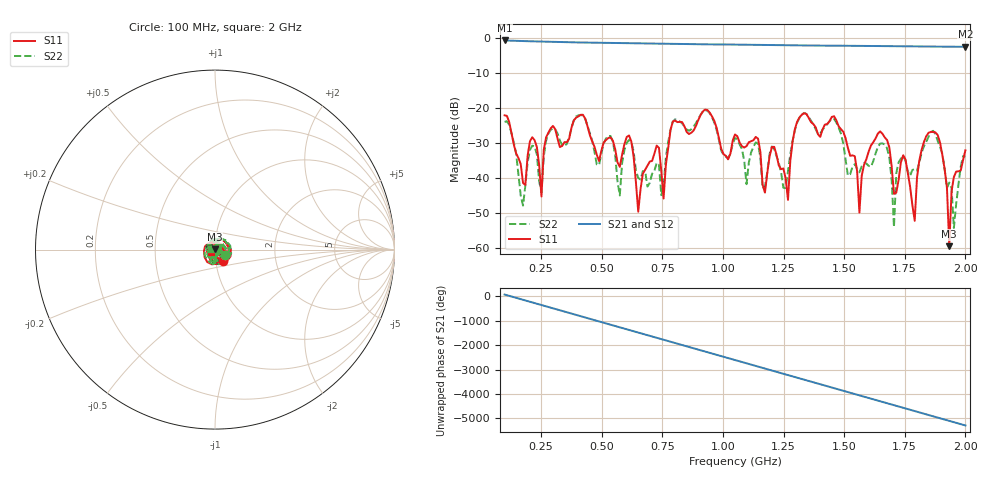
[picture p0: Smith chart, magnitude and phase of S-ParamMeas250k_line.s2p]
!Keysight Technologies,N5242B,MY48420967,A.15.65.19
!Date: Thursday, December 15, 2022 15:53:20
!Correction: S11(C  2-Port  )
!S21(C  2-Port  )
!S12(C  2-Port  )
!S22(C  2-Port  )
!S2P File: Measurements: S11, S21, S12, S22:
# Hz S  dB  R 50
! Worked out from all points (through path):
!   201 points, 100 MHz to 2 GHz, reference 50 ohm
!   highest |S21| = -0.72 dB at 100 MHz (marker M1); lowest = -2.5 dB at 2 GHz (marker M2)
!   group delay of S21, straight-line fit = 7.84 ns
!   lowest |S11| = -59.6 dB at 1.933 GHz (marker M3), VSWR 1.00, Z = 49.9 + j0.0602 ohm
!   |S11| at or under -10 dB: start of sweep to end of sweep
!   |S22| runs from -54.4 to -20.7 dB; largest |S21 - S12| = 0.0011
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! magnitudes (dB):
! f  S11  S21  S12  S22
! 100 MHz  -22.1  -0.7  -0.7  -24.0
! 176 MHz  -41.5  -0.9  -0.9  -48.0
! 423 MHz  -22.0  -1.3  -1.3  -22.2
! 575 MHz  -36.9  -1.5  -1.5  -45.1
! 613 MHz  -27.9  -1.5  -1.5  -29.2
! 651 MHz  -49.7  -1.5  -1.5  -40.1
! 736.5 MHz  -31.5  -1.6  -1.6  -36.3
! 755.5 MHz  -45.9  -1.6  -1.7  -42.3
! 793.5 MHz  -23.9  -1.7  -1.7  -24.0
! 1.05 GHz  -27.6  -1.9  -1.9  -28.6
! 1.268 GHz  -46.4  -2.1  -2.1  -38.0
! 1.306 GHz  -23.9  -2.1  -2.1  -24.2
! 1.373 GHz  -24.6  -2.2  -2.2  -24.7
! 1.563 GHz  -50.0  -2.3  -2.3  -38.4
! 1.687 GHz  -31.3  -2.3  -2.4  -34.3
! 1.706 GHz  -44.6  -2.4  -2.4  -54.1
! 1.724 GHz  -40.7  -2.4  -2.4  -35.6
! 1.791 GHz  -52.3  -2.4  -2.4  -37.5
! 1.886 GHz  -27.8  -2.5  -2.5  -29.5
! 1.933 GHz  -59.6  -2.5  -2.5  -41.4
! 1.952 GHz  -39.8  -2.5  -2.5  -54.4
! 2 GHz  -32.2  -2.5  -2.5  -34.0
